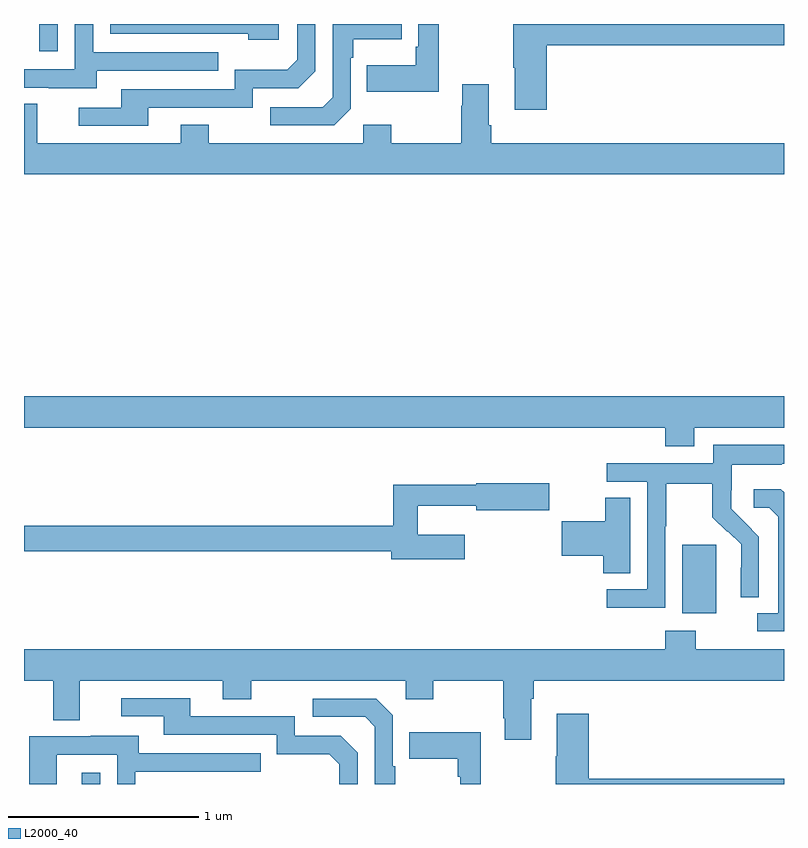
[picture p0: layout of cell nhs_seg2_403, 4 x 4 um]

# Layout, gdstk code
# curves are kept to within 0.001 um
import gdstk
lib = gdstk.Library(unit=1e-6, precision=1e-09)
def R(c, l, rs):  # rectangles x0, y0, x1, y1
    for r in rs: c.add(gdstk.rectangle(r[:2], r[2:], *l))
def P(c, l, *ps):  # polygons
    for p in ps: c.add(gdstk.Polygon(p, *l))
L2000_40 = (2000, 40)

nhs_seg2_403 = lib.new_cell('nhs_seg2_403')
R(nhs_seg2_403, L2000_40, [(131.303,605.8,131.4,605.86), (134.465,606.698,134.644,607.059), (131.081,609.657,131.178,609.8)])
P(nhs_seg2_403, L2000_40, [(133.751,609.688),(135,609.688),(135,609.8),(133.576,609.8),(133.576,609.571),(133.583,609.571),(133.583,609.348),(133.751,609.348)],
  [(132.34,609.8),(131.454,609.8),(131.454,609.75),(132.179,609.75),(132.179,609.716),(132.34,609.716)],
  [(132.72,609.354),(132.72,609.623),(132.733,609.623),(132.733,609.719),(132.989,609.719),(132.989,609.8),(132.624,609.8),(132.624,609.414),(132.573,609.363),(132.297,609.363),(132.297,609.267),(132.633,609.267)],
  [(133.183,609.8),(133.074,609.8),(133.074,609.679),(133.062,609.679),(133.062,609.583),(132.805,609.583),(132.805,609.443),(133.183,609.443)],
  [(131.383,609.555),(132.023,609.555),(132.023,609.651),(131.364,609.651),(131.364,609.8),(131.268,609.8),(131.268,609.561),(131,609.561),(131,609.465),(131.129,609.465),(131.129,609.461),(131.383,609.461)],
  [(131.653,609.36),(132.204,609.36),(132.204,609.462),(132.444,609.462),(132.534,609.552),(132.534,609.8),(132.438,609.8),(132.438,609.612),(132.385,609.559),(132.108,609.559),(132.108,609.456),(131.513,609.456),(131.513,609.36),(131.289,609.36),(131.289,609.264),(131.653,609.264)],
  [(135,609.172),(133.46,609.172),(133.46,609.268),(133.447,609.268),(133.447,609.484),(133.307,609.484),(133.307,609.371),(133.3,609.371),(133.3,609.172),(132.933,609.172),(132.933,609.271),(132.786,609.271),(132.786,609.172),(131.973,609.172),(131.973,609.271),(131.825,609.271),(131.825,609.172),(131.071,609.172),(131.071,609.38),(131,609.38),(131,609.008),(135,609.008)],
  [(134.527,607.676),(135,607.676),(135,607.84),(131,607.84),(131,607.676),(134.375,607.676),(134.375,607.577),(134.527,607.577)],
  [(134.376,607.156),(134.379,607.156),(134.379,607.38),(134.623,607.38),(134.623,607.205),(134.7,607.128),(134.703,607.131),(134.774,607.061),(134.774,606.938),(134.772,606.938),(134.772,606.784),(134.868,606.784),(134.868,607.102),(134.722,607.25),(134.722,607.347),(134.724,607.347),(134.724,607.481),(134.987,607.481),(134.987,607.485),(135,607.485),(135,607.585),(134.628,607.585),(134.628,607.488),(134.067,607.488),(134.067,607.392),(134.28,607.392),(134.28,606.825),(134.067,606.825),(134.067,606.727),(134.376,606.727)],
  [(133.321,607.111),(133.072,607.111),(133.072,607.265),(133.38,607.265),(133.38,607.241),(133.765,607.241),(133.765,607.383),(133.38,607.383),(133.38,607.375),(132.943,607.375),(132.943,607.16),(131,607.16),(131,607.024),(132.932,607.024),(132.932,606.982),(133.321,606.982)],
  [(135,607.335),(134.984,607.351),(134.841,607.351),(134.841,607.254),(134.922,607.254),(134.969,607.207),(134.969,606.699),(134.859,606.699),(134.859,606.603),(135,606.603)],
  [(134.191,607.307),(134.06,607.307),(134.06,607.184),(133.83,607.184),(133.83,607.001),(134.048,607.001),(134.048,606.91),(134.191,606.91)],
  [(133.669,606.248),(133.682,606.248),(133.682,606.344),(135,606.344),(135,606.508),(134.535,606.508),(134.535,606.607),(134.375,606.607),(134.375,606.508),(131,606.508),(131,606.344),(131.153,606.344),(131.153,606.136),(131.293,606.136),(131.293,606.344),(132.047,606.344),(132.047,606.245),(132.195,606.245),(132.195,606.344),(133.008,606.344),(133.008,606.245),(133.155,606.245),(133.155,606.344),(133.522,606.344),(133.522,606.145),(133.529,606.145),(133.529,606.033),(133.669,606.033)],
  [(132.756,605.964),(132.666,606.054),(132.426,606.054),(132.426,606.156),(131.875,606.156),(131.875,606.252),(131.511,606.252),(131.511,606.156),(131.735,606.156),(131.735,606.06),(132.33,606.06),(132.33,605.957),(132.607,605.957),(132.66,605.904),(132.66,605.8),(132.756,605.8)],
  [(132.955,605.893),(132.942,605.893),(132.942,606.162),(132.855,606.249),(132.519,606.249),(132.519,606.153),(132.795,606.153),(132.846,606.102),(132.846,605.8),(132.955,605.8)],
  [(135,605.828),(133.973,605.828),(133.973,606.169),(133.805,606.169),(133.805,605.945),(133.798,605.945),(133.798,605.8),(135,605.8)],
  [(133.405,606.073),(133.027,606.073),(133.027,605.933),(133.284,605.933),(133.284,605.837),(133.296,605.837),(133.296,605.8),(133.405,605.8)],
  [(131.172,605.955),(131.49,605.955),(131.49,605.8),(131.586,605.8),(131.586,605.865),(132.245,605.865),(132.245,605.961),(131.605,605.961),(131.605,606.055),(131.351,606.055),(131.351,606.051),(131.027,606.051),(131.027,605.8),(131.172,605.8)])

lib.write_gds('nhs_seg2_403.gds')
